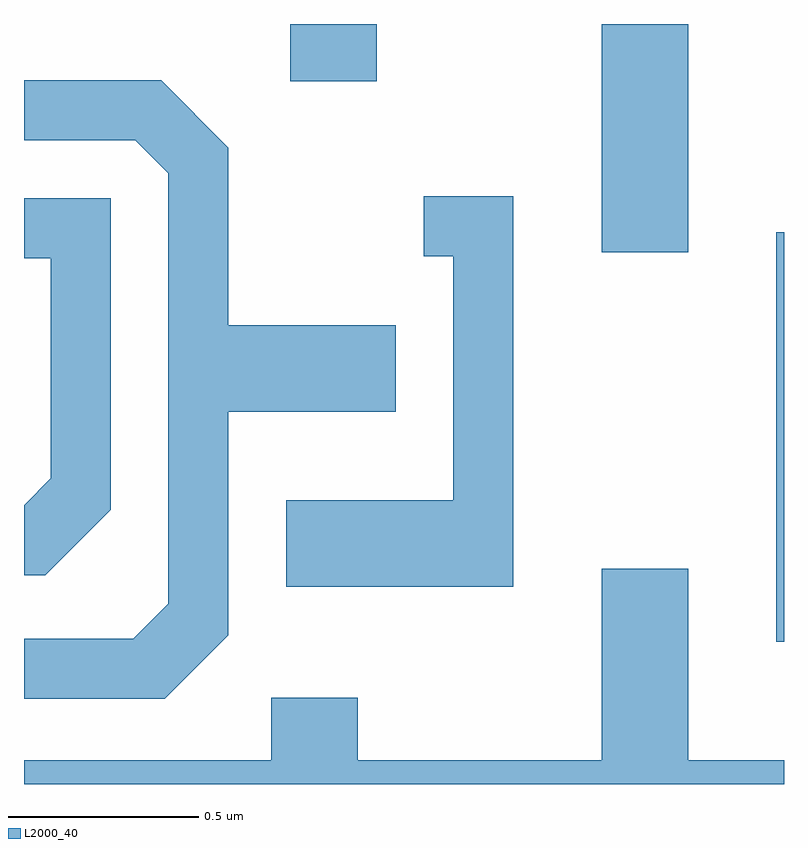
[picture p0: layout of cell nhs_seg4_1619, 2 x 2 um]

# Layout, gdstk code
import gdstk
lib = gdstk.Library(unit=1e-6, precision=1e-09)
def R(c, l, rs):  # rectangles x0, y0, x1, y1
    for r in rs: c.add(gdstk.rectangle(r[:2], r[2:], *l))
def P(c, l, *ps):  # polygons
    for p in ps: c.add(gdstk.Polygon(p, *l))
L2000_40 = (2000, 40)

nhs_seg4_1619 = lib.new_cell('nhs_seg4_1619')
R(nhs_seg4_1619, L2000_40, [(198.591,1366.356,198.611,1367.434), (198.131,1367.381,198.359,1367.982), (197.311,1367.831,197.539,1367.982)])
P(nhs_seg4_1619, L2000_40, [(197.149,1366.374),(197.149,1366.961),(197.589,1366.961),(197.589,1367.189),(197.149,1367.189),(197.149,1367.657),(196.972,1367.834),(196.611,1367.834),(196.611,1367.676),(196.904,1367.676),(196.991,1367.589),(196.991,1366.457),(196.899,1366.364),(196.611,1366.364),(196.611,1366.206),(196.982,1366.206)],
  [(197.899,1367.529),(197.663,1367.529),(197.663,1367.371),(197.741,1367.371),(197.741,1366.729),(197.301,1366.729),(197.301,1366.501),(197.899,1366.501)],
  [(196.839,1366.704),(196.839,1367.524),(196.611,1367.524),(196.611,1367.366),(196.681,1367.366),(196.681,1366.787),(196.611,1366.716),(196.611,1366.531),(196.667,1366.531)],
  [(198.611,1366.044),(198.359,1366.044),(198.359,1366.549),(198.131,1366.549),(198.131,1366.044),(197.489,1366.044),(197.489,1366.209),(197.261,1366.209),(197.261,1366.044),(196.611,1366.044),(196.611,1365.982),(198.611,1365.982)])

lib.write_gds('nhs_seg4_1619.gds')
